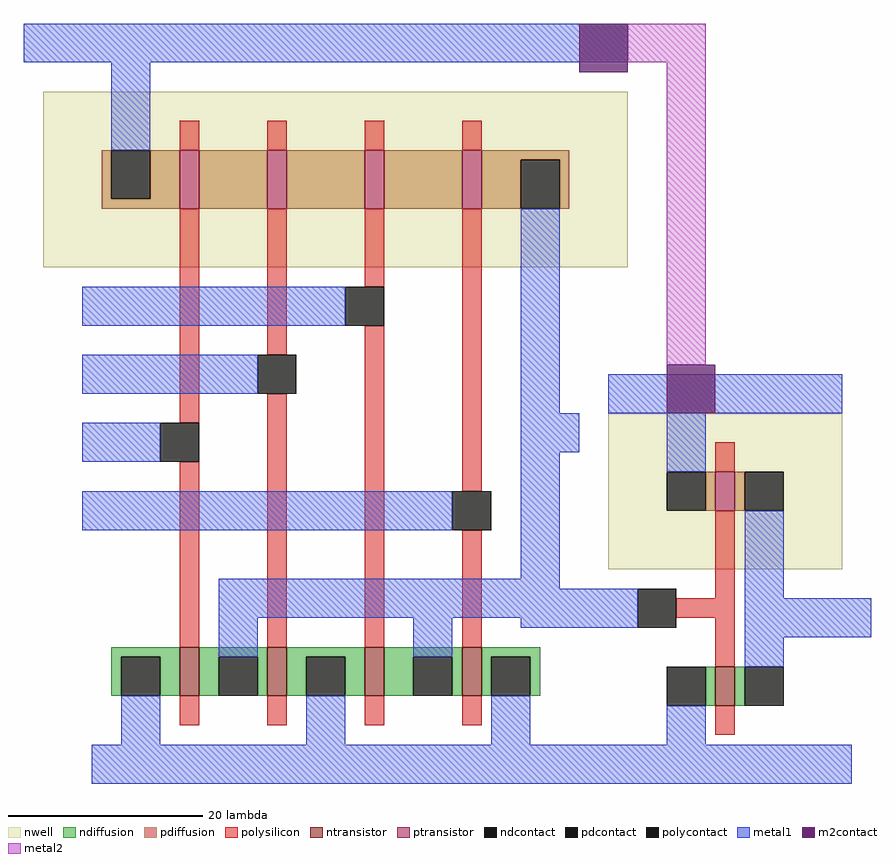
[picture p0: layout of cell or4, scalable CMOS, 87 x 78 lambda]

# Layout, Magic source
magic
tech scmos
<< metal1 >>
rect -2 74 0 78
rect 4 47 7 51
rect 4 40 7 44
rect 4 33 7 37
rect 4 26 7 30
rect 50 18 58 20
rect 49 16 58 18
rect 83 15 85 19
rect 5 0 7 4
rect 50 0 59 4
<< m2contact >>
rect 55 73 60 78
rect 64 38 69 43
<< metal2 >>
rect 60 74 68 78
rect 64 43 68 74
use inverter  inverter_0
transform 1 0 90 0 1 34
box -32 -34 -7 8
use nor4  nor4_0
transform 1 0 0 0 1 53
box 0 -53 60 25
<< end >>

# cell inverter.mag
magic
tech scmos
<< nwell >>
rect -32 -12 -8 4
<< ntransistor >>
rect -21 -26 -19 -22
<< ptransistor >>
rect -21 -6 -19 -2
<< ndiffusion >>
rect -22 -26 -21 -22
rect -19 -26 -18 -22
<< pdiffusion >>
rect -22 -6 -21 -2
rect -19 -6 -18 -2
<< ndcontact >>
rect -26 -26 -22 -22
rect -18 -26 -14 -22
<< pdcontact >>
rect -26 -6 -22 -2
rect -18 -6 -14 -2
<< polysilicon >>
rect -21 -2 -19 1
rect -21 -15 -19 -6
rect -25 -17 -19 -15
rect -21 -22 -19 -17
rect -21 -29 -19 -26
<< polycontact >>
rect -29 -18 -25 -14
<< metal1 >>
rect -32 4 -8 8
rect -26 -2 -22 4
rect -32 -18 -29 -14
rect -18 -15 -14 -6
rect -18 -19 -7 -15
rect -18 -22 -14 -19
rect -26 -30 -22 -26
rect -32 -34 -7 -30
<< end >>

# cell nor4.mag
magic
tech scmos
<< nwell >>
rect 0 0 60 18
<< ntransistor >>
rect 14 -44 16 -39
rect 23 -44 25 -39
rect 33 -44 35 -39
rect 43 -44 45 -39
<< ptransistor >>
rect 14 6 16 12
rect 23 6 25 12
rect 33 6 35 12
rect 43 6 45 12
<< ndiffusion >>
rect 7 -40 14 -39
rect 7 -44 8 -40
rect 12 -44 14 -40
rect 16 -40 23 -39
rect 16 -44 18 -40
rect 22 -44 23 -40
rect 25 -40 33 -39
rect 25 -44 27 -40
rect 31 -44 33 -40
rect 35 -40 43 -39
rect 35 -44 38 -40
rect 42 -44 43 -40
rect 45 -40 51 -39
rect 45 -44 46 -40
rect 50 -44 51 -40
<< pdiffusion >>
rect 6 7 7 12
rect 11 7 14 12
rect 6 6 14 7
rect 16 6 23 12
rect 25 6 33 12
rect 35 6 43 12
rect 45 11 54 12
rect 45 6 49 11
rect 53 6 54 11
<< ndcontact >>
rect 8 -44 12 -40
rect 18 -44 22 -40
rect 27 -44 31 -40
rect 38 -44 42 -40
rect 46 -44 50 -40
<< pdcontact >>
rect 7 7 11 12
rect 49 6 53 11
<< polysilicon >>
rect 14 12 16 15
rect 23 12 25 15
rect 33 12 35 15
rect 43 12 45 15
rect 14 -16 16 6
rect 23 -9 25 6
rect 33 -2 35 6
rect 14 -39 16 -20
rect 23 -39 25 -13
rect 33 -39 35 -6
rect 43 -23 45 6
rect 43 -39 45 -27
rect 14 -47 16 -44
rect 23 -47 25 -44
rect 33 -47 35 -44
rect 43 -47 45 -44
<< polycontact >>
rect 31 -6 35 -2
rect 22 -13 26 -9
rect 12 -20 16 -16
rect 42 -27 46 -23
<< metal1 >>
rect 0 21 60 25
rect 7 12 11 21
rect 7 -6 31 -2
rect 7 -13 22 -9
rect 49 -15 53 6
rect 7 -20 12 -16
rect 49 -19 55 -15
rect 7 -27 42 -23
rect 49 -32 53 -19
rect 18 -36 53 -32
rect 18 -40 22 -36
rect 38 -40 42 -36
rect 8 -49 12 -44
rect 27 -49 31 -44
rect 46 -49 50 -44
rect 7 -53 51 -49
<< end >>
